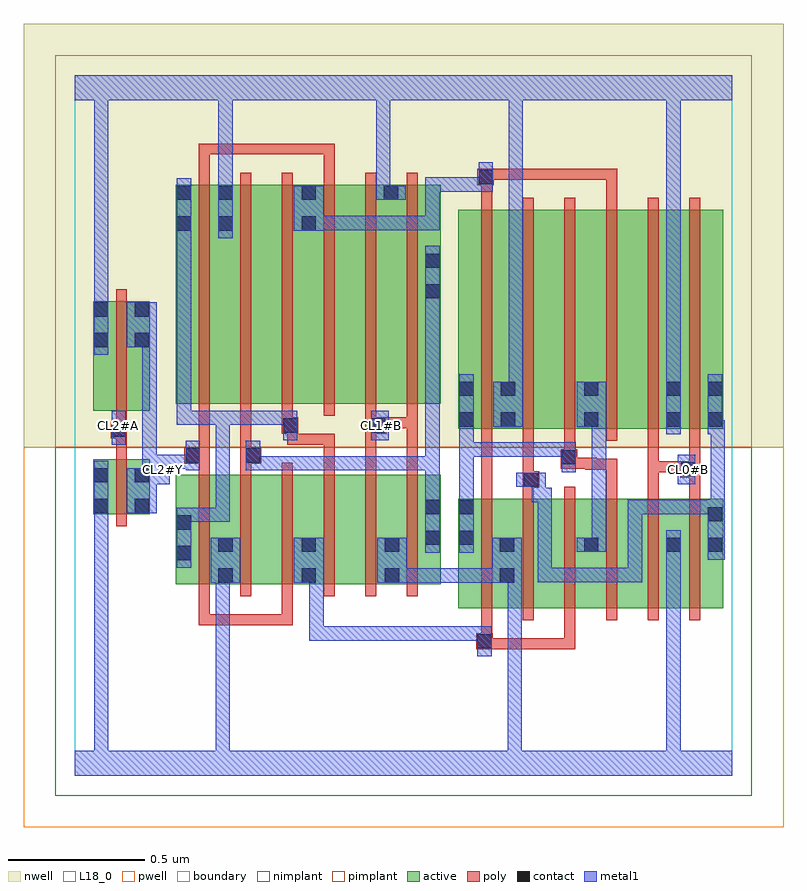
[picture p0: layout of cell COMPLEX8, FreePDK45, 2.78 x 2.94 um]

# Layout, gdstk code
import gdstk
lib = gdstk.Library(unit=1e-6, precision=1e-09)
def R(c, l, rs):  # rectangles x0, y0, x1, y1
    for r in rs: c.add(gdstk.rectangle(r[:2], r[2:], *l))
def A(c, l, x, y, w, h, nx, ny, dx, dy):  # array of equal rectangles
    R(c, l, [(x+i*dx, y+j*dy, x+i*dx+w, y+j*dy+h) for i in range(nx) for j in range(ny)])
active = (1, 0)
pwell = (2, 0)
nwell = (3, 0)
nimplant = (4, 0)
pimplant = (5, 0)
poly = (9, 0)
contact = (10, 0)
metal1 = (11, 0)
L18_0 = (18, 0)
boundary = (235, 0)

complex8 = lib.new_cell('COMPLEX8')
R(complex8, active, [(1.4,0.612,1.46,1.012), (1.4,0.612,1.608,1.012), (1.548,0.612,1.608,1.012), (1.548,0.612,1.732,1.012), (1.732,0.612,1.916,1.012), (1.856,0.612,2.036,1.012), (2.036,0.612,2.216,1.012), (2.156,0.612,2.216,1.012), (2.156,0.612,2.368,1.012), (2.308,0.612,2.368,1.012), (0.368,0.7,0.428,1.1), (0.368,0.7,0.58,1.1), (0.52,0.7,0.7,1.1), (0.52,0.7,0.58,0.874), (0.7,0.7,0.884,1.1), (0.824,0.7,0.884,1.1), (0.824,0.7,1.004,1.1), (1.004,0.7,1.188,1.1), (1.128,0.7,1.336,1.1), (1.128,0.7,1.188,0.874), (1.276,0.7,1.336,1.1), (1.856,0.756,1.916,0.874), (0.066,0.956,0.126,1.156), (0.066,0.956,0.274,1.156), (0.214,0.956,0.274,1.156), (1.4,1.268,1.46,2.068), (1.4,1.268,1.612,2.068), (1.552,1.268,1.612,2.068), (1.552,1.268,1.732,2.068), (1.732,1.268,1.916,2.068), (1.856,1.268,1.916,2.068), (1.856,1.268,2.036,2.068), (2.036,1.268,2.216,2.068), (2.156,1.268,2.216,2.068), (2.156,1.268,2.368,2.068), (2.308,1.268,2.368,2.068), (0.066,1.334,0.126,1.734), (0.066,1.334,0.274,1.734), (0.214,1.334,0.274,1.734), (0.368,1.36,0.428,2.16), (0.368,1.36,0.58,2.16), (0.52,1.36,0.7,2.16), (0.7,1.36,0.884,2.16), (0.824,1.36,0.884,2.16), (0.824,1.36,1.004,2.16), (1.004,1.36,1.184,2.16), (1.124,1.36,1.336,2.16), (1.276,1.36,1.336,2.044), (1.124,1.47,1.184,2.16), (0.52,1.65,0.58,2.16)])
R(complex8, pwell, [(-0.188,-0.188,2.588,1.2)])
R(complex8, nwell, [(-0.188,1.2,2.588,2.748)])
R(complex8, nimplant, [(-0.072,-0.072,2.472,1.2)])
R(complex8, pimplant, [(-0.072,1.2,2.472,2.632)])
A(complex8, poly, 1.484, 0.568, 0.04, 0.488, 6, 1, 0.152, 0)
A(complex8, poly, 0.452, 0.656, 0.04, 0.488, 6, 1, 0.152, 0)
A(complex8, poly, 1.484, 1.224, 0.04, 0.888, 6, 1, 0.152, 0)
A(complex8, poly, 0.452, 1.316, 0.04, 0.888, 6, 1, 0.152, 0)
R(complex8, poly, [(1.466,0.462,1.526,0.522), (1.486,0.462,1.526,0.502), (1.486,0.462,1.526,0.502), (1.486,0.462,1.708,0.502), (1.668,0.462,1.708,0.502), (1.668,0.462,1.708,0.502), (1.668,0.462,1.708,0.502), (1.668,0.462,1.828,0.502), (1.788,0.462,1.828,0.502), (1.788,0.462,1.828,0.608), (1.484,0.482,1.524,0.608), (0.452,0.55,0.492,0.59), (0.452,0.55,0.492,0.59), (0.452,0.55,0.492,0.59), (0.452,0.55,0.492,0.696), (0.452,0.55,0.66,0.59), (0.62,0.55,0.66,0.59), (0.62,0.55,0.66,0.59), (0.62,0.55,0.66,0.59), (0.62,0.55,0.796,0.59), (0.756,0.55,0.796,0.59), (0.756,0.55,0.796,0.696), (0.15,0.912,0.19,1.2), (1.484,1.016,1.524,1.092), (1.636,1.016,1.676,1.092), (1.94,1.016,1.98,1.158), (2.092,1.016,2.132,1.15), (2.244,1.016,2.284,1.13), (1.484,1.052,1.524,1.092), (1.484,1.052,1.524,1.092), (1.484,1.052,1.524,1.092), (1.484,1.052,1.524,1.264), (1.636,1.052,1.696,1.112), (1.636,1.072,1.676,1.112), (1.636,1.072,1.676,1.112), (1.636,1.072,1.676,1.264), (2.21,1.09,2.284,1.15), (0.452,1.104,0.492,1.18), (0.604,1.104,0.644,1.18), (0.908,1.104,0.948,1.25), (1.06,1.104,1.1,1.29), (1.212,1.104,1.252,1.31), (2.092,1.11,2.132,1.264), (2.092,1.11,2.132,1.15), (2.092,1.11,2.132,1.15), (2.092,1.11,2.132,1.15), (2.092,1.11,2.132,1.15), (2.092,1.11,2.132,1.15), (2.092,1.11,2.284,1.15), (2.244,1.11,2.284,1.264), (2.244,1.11,2.284,1.15), (2.244,1.11,2.284,1.15), (1.864,1.118,1.98,1.158), (1.864,1.118,1.904,1.162), (1.94,1.118,1.98,1.158), (1.94,1.118,1.98,1.158), (1.94,1.118,1.98,1.158), (1.774,1.122,1.834,1.194), (1.794,1.122,1.904,1.162), (0.4,1.14,0.492,1.2), (0.604,1.14,0.68,1.2), (1.788,1.154,1.828,1.264), (0.15,1.16,0.19,1.274), (0.452,1.16,0.492,1.2), (0.452,1.16,0.492,1.2), (0.452,1.16,0.492,1.356), (0.604,1.16,0.644,1.2), (0.604,1.16,0.644,1.2), (0.604,1.16,0.644,1.356), (0.776,1.21,0.816,1.25), (0.776,1.21,0.948,1.25), (0.776,1.21,0.816,1.29), (0.908,1.21,0.948,1.25), (0.13,1.234,0.19,1.294), (0.756,1.25,0.816,1.31), (0.776,1.25,0.816,1.29), (0.776,1.25,0.816,1.29), (1.06,1.25,1.1,1.29), (1.06,1.25,1.1,1.29), (1.06,1.25,1.138,1.31), (0.15,1.254,0.19,1.294), (0.15,1.254,0.19,1.294), (0.15,1.254,0.19,1.33), (0.756,1.27,0.796,1.356), (1.06,1.27,1.1,1.356), (1.098,1.27,1.138,1.31), (1.098,1.27,1.138,1.31), (1.098,1.27,1.252,1.31), (1.212,1.27,1.252,1.31), (1.212,1.27,1.252,1.31), (1.212,1.27,1.252,1.31), (1.212,1.27,1.252,1.356), (0.15,1.29,0.19,1.778), (1.484,2.072,1.524,2.198), (1.94,2.072,1.98,2.218), (1.47,2.158,1.53,2.218), (0.452,2.164,0.492,2.31), (0.908,2.164,0.948,2.31), (1.49,2.178,1.53,2.218), (1.49,2.178,1.53,2.218), (1.49,2.178,1.636,2.218), (1.596,2.178,1.636,2.218), (1.596,2.178,1.636,2.218), (1.596,2.178,1.636,2.218), (1.596,2.178,1.874,2.218), (1.834,2.178,1.874,2.218), (1.834,2.178,1.874,2.218), (1.834,2.178,1.874,2.218), (1.834,2.178,1.98,2.218), (1.94,2.178,1.98,2.218), (0.452,2.27,0.492,2.31), (0.452,2.27,0.492,2.31), (0.452,2.27,0.492,2.31), (0.452,2.27,0.66,2.31), (0.62,2.27,0.66,2.31), (0.62,2.27,0.66,2.31), (0.62,2.27,0.66,2.31), (0.62,2.27,0.766,2.31), (0.726,2.27,0.766,2.31), (0.726,2.27,0.948,2.31), (0.908,2.27,0.948,2.31), (0.908,2.27,0.948,2.31), (0.908,2.27,0.948,2.31)])
A(complex8, contact, 0.524, 0.706, 0.052, 0.052, 3, 2, 0.304, 0.112)
R(complex8, contact, [(1.47,0.466,1.522,0.518), (1.552,0.706,1.604,0.758), (0.372,0.788,0.424,0.84), (1.552,0.818,1.604,0.87), (1.86,0.818,1.912,0.87), (2.16,0.818,2.212,0.87), (2.312,0.818,2.364,0.87), (1.28,0.844,1.332,0.896), (1.404,0.844,1.456,0.896), (0.372,0.9,0.424,0.952), (2.312,0.93,2.364,0.982), (1.28,0.956,1.332,1.008), (1.404,0.956,1.456,1.008), (0.07,0.96,0.122,1.012), (0.218,0.96,0.27,1.012), (1.64,1.056,1.692,1.108), (0.07,1.072,0.122,1.124), (0.218,1.072,0.27,1.124), (2.214,1.094,2.266,1.146), (1.778,1.138,1.83,1.19), (0.404,1.144,0.456,1.196), (0.624,1.144,0.676,1.196), (0.134,1.238,0.186,1.29), (0.76,1.254,0.812,1.306), (1.082,1.254,1.134,1.306), (1.404,1.276,1.456,1.328), (1.556,1.276,1.608,1.328), (1.86,1.276,1.912,1.328), (2.16,1.276,2.212,1.328), (2.312,1.276,2.364,1.328), (1.404,1.388,1.456,1.44), (1.556,1.388,1.608,1.44), (1.86,1.388,1.912,1.44), (2.16,1.388,2.212,1.44), (2.312,1.388,2.364,1.44), (0.07,1.566,0.122,1.618), (0.218,1.566,0.27,1.618), (0.07,1.678,0.122,1.73), (0.218,1.678,0.27,1.73), (1.28,1.744,1.332,1.796), (1.28,1.856,1.332,1.908), (0.372,1.992,0.424,2.044), (0.524,1.992,0.576,2.044), (0.828,1.992,0.88,2.044), (0.372,2.104,0.424,2.156), (0.524,2.104,0.576,2.156), (0.828,2.104,0.88,2.156), (1.128,2.104,1.18,2.156), (1.474,2.162,1.526,2.214)])
A(complex8, metal1, 0.496, 0.706, 0.108, 0.164, 3, 1, 0.304, 0)
A(complex8, metal1, 1.69, 0.708, 0.162, 0.052, 3, 1, 0.11, 0)
A(complex8, metal1, 1.8, 0.708, 0.052, 0.052, 3, 1, 0.11, 0)
R(complex8, metal1, [(0,0,2.4,0.092), (0.07,0.04,0.122,0.092), (0.07,0.04,0.122,0.092), (0.07,0.04,0.122,0.092), (0.07,0.04,0.122,0.092), (0.07,0.04,0.122,0.092), (0.07,0.04,0.122,0.092), (0.07,0.04,0.122,0.092), (0.07,0.04,0.122,0.092), (0.07,0.04,0.122,0.092), (0.07,0.04,0.122,0.092), (0.07,0.04,0.122,0.092), (0.07,0.04,0.122,0.092), (0.07,0.04,0.122,0.092), (0.07,0.04,0.122,0.092), (0.07,0.04,0.122,0.092), (0.07,0.04,0.122,0.092), (0.07,0.04,0.122,0.984), (0.514,0.04,0.566,0.092), (0.514,0.04,0.566,0.092), (0.514,0.04,0.566,0.092), (0.514,0.04,0.566,0.092), (0.514,0.04,0.566,0.092), (0.514,0.04,0.566,0.092), (0.514,0.04,0.566,0.092), (0.514,0.04,0.566,0.092), (0.514,0.04,0.566,0.758), (1.58,0.04,1.632,0.092), (1.58,0.04,1.632,0.092), (1.58,0.04,1.632,0.092), (1.58,0.04,1.632,0.092), (1.58,0.04,1.632,0.092), (1.58,0.04,1.632,0.092), (1.58,0.04,1.632,0.092), (1.58,0.04,1.632,0.092), (1.58,0.04,1.632,0.092), (1.58,0.04,1.632,0.092), (1.58,0.04,1.632,0.758), (2.16,0.04,2.212,0.092), (2.16,0.04,2.212,0.092), (2.16,0.04,2.212,0.092), (2.16,0.04,2.212,0.092), (2.16,0.04,2.212,0.092), (2.16,0.04,2.212,0.092), (2.16,0.04,2.212,0.092), (2.16,0.04,2.212,0.092), (2.16,0.04,2.212,0.092), (2.16,0.04,2.212,0.092), (2.16,0.04,2.212,0.092), (2.16,0.04,2.212,0.092), (2.16,0.04,2.212,0.842), (1.47,0.438,1.522,0.546), (0.856,0.494,0.908,0.546), (0.856,0.494,1.024,0.546), (0.856,0.494,0.908,0.758), (0.972,0.494,1.024,0.546), (0.972,0.494,1.024,0.546), (0.972,0.494,1.024,0.546), (0.972,0.494,1.212,0.546), (1.16,0.494,1.212,0.546), (1.16,0.494,1.212,0.546), (1.16,0.494,1.212,0.546), (1.16,0.494,1.322,0.546), (1.27,0.494,1.322,0.546), (1.27,0.494,1.322,0.546), (1.27,0.494,1.322,0.546), (1.27,0.494,1.442,0.546), (1.39,0.494,1.442,0.546), (1.39,0.494,1.522,0.546), (0.514,0.706,0.566,0.758), (0.514,0.706,0.566,0.758), (0.514,0.706,0.566,0.758), (0.514,0.706,0.566,0.758), (1.16,0.706,1.322,0.758), (1.27,0.706,1.322,0.758), (1.27,0.706,1.322,0.758), (1.27,0.706,1.322,0.758), (1.27,0.706,1.466,0.758), (1.414,0.706,1.466,0.758), (1.414,0.706,1.466,0.758), (1.414,0.706,1.466,0.758), (1.414,0.706,1.576,0.758), (1.524,0.706,1.632,0.87), (1.58,0.706,1.632,0.758), (1.58,0.706,1.632,0.758), (1.69,0.708,1.742,0.76), (1.69,0.708,1.742,1.052), (1.8,0.708,1.852,0.76), (1.8,0.708,1.852,0.76), (2.02,0.708,2.072,1.008), (0.372,0.76,0.424,0.98), (2.16,0.79,2.212,0.898), (2.312,0.79,2.374,1.01), (1.28,0.816,1.332,1.036), (1.404,0.816,1.456,1.036), (1.832,0.818,1.94,0.87), (1.888,0.818,1.94,0.87), (1.888,0.818,1.94,0.87), (1.888,0.818,1.94,0.87), (1.888,0.818,1.94,0.87), (1.888,0.818,1.94,1.328), (0.372,0.928,0.566,0.98), (0.514,0.928,0.566,0.98), (0.514,0.928,0.566,0.98), (0.514,0.928,0.566,0.98), (0.514,0.928,0.566,0.98), (0.514,0.928,0.566,0.98), (0.514,0.928,0.566,1.334), (0.07,0.932,0.122,1.152), (2.02,0.956,2.072,1.008), (2.02,0.956,2.072,1.008), (2.02,0.956,2.072,1.008), (2.02,0.956,2.254,1.008), (2.202,0.956,2.254,1.008), (2.202,0.956,2.364,1.008), (2.312,0.956,2.364,1.008), (2.312,0.956,2.364,1.008), (2.322,0.958,2.374,1.01), (2.322,0.958,2.374,1.01), (2.322,0.958,2.374,1.3), (0.19,0.96,0.298,1.124), (1.28,0.984,1.332,1.168), (1.404,0.984,1.456,1.218), (1.668,1,1.72,1.108), (1.668,1,1.742,1.052), (1.612,1.056,1.72,1.108), (1.668,1.056,1.72,1.108), (1.668,1.056,1.72,1.108), (0.246,1.066,0.298,1.118), (0.246,1.066,0.346,1.174), (2.202,1.066,2.266,1.174), (1.778,1.11,1.83,1.218), (0.404,1.116,0.456,1.224), (0.624,1.116,0.676,1.168), (0.624,1.116,0.676,1.168), (0.624,1.116,0.786,1.168), (0.624,1.116,0.676,1.224), (0.734,1.116,0.786,1.168), (0.734,1.116,0.786,1.168), (0.734,1.116,0.786,1.168), (0.734,1.116,1.024,1.168), (0.972,1.116,1.024,1.168), (0.972,1.116,1.024,1.168), (0.972,1.116,1.024,1.168), (0.972,1.116,1.212,1.168), (1.16,1.116,1.212,1.168), (1.16,1.116,1.212,1.168), (1.16,1.116,1.212,1.168), (1.16,1.116,1.332,1.168), (1.28,1.116,1.332,1.168), (1.28,1.116,1.332,1.168), (1.28,1.116,1.332,1.168), (1.28,1.116,1.332,1.168), (1.28,1.116,1.332,1.168), (1.28,1.116,1.332,1.768), (0.246,1.122,0.298,1.618), (0.294,1.122,0.346,1.174), (0.294,1.122,0.346,1.174), (0.294,1.122,0.456,1.174), (1.404,1.166,1.456,1.218), (1.404,1.166,1.456,1.218), (1.404,1.166,1.456,1.218), (1.404,1.166,1.456,1.218), (1.404,1.166,1.456,1.218), (1.404,1.166,1.61,1.218), (1.404,1.166,1.456,1.3), (1.558,1.166,1.61,1.218), (1.558,1.166,1.72,1.218), (1.668,1.166,1.72,1.218), (1.668,1.166,1.72,1.218), (1.668,1.166,1.72,1.218), (1.668,1.166,1.83,1.218), (0.134,1.21,0.186,1.334), (0.76,1.226,0.812,1.334), (1.082,1.226,1.146,1.334), (1.404,1.248,1.456,1.468), (2.16,1.248,2.212,1.468), (2.312,1.248,2.364,1.3), (2.312,1.248,2.364,1.468), (2.312,1.248,2.374,1.3), (1.528,1.276,1.636,1.44), (1.832,1.276,1.94,1.44), (0.372,1.282,0.424,1.334), (0.372,1.282,0.566,1.334), (0.372,1.282,0.424,2.016), (0.514,1.282,0.566,1.334), (0.514,1.282,0.566,1.334), (0.514,1.282,0.566,1.334), (0.514,1.282,0.676,1.334), (0.624,1.282,0.676,1.334), (0.624,1.282,0.676,1.334), (0.624,1.282,0.676,1.334), (0.624,1.282,0.812,1.334), (1.584,1.388,1.636,1.44), (1.584,1.388,1.636,1.44), (1.584,1.388,1.636,1.44), (1.584,1.388,1.636,1.44), (1.584,1.388,1.636,1.44), (1.584,1.388,1.636,1.44), (1.584,1.388,1.636,2.52), (2.16,1.416,2.212,1.468), (2.16,1.416,2.212,1.468), (2.16,1.416,2.212,1.468), (2.16,1.416,2.212,1.468), (2.16,1.416,2.212,1.468), (2.16,1.416,2.212,1.468), (2.16,1.416,2.212,1.468), (2.16,1.416,2.212,1.468), (2.16,1.416,2.212,2.52), (0.07,1.538,0.122,1.758), (0.19,1.566,0.298,1.73), (0.246,1.566,0.298,1.618), (0.246,1.566,0.298,1.618), (0.07,1.706,0.122,2.52), (1.28,1.716,1.332,1.936), (0.372,1.964,0.424,2.184), (0.524,1.964,0.576,2.184), (0.8,1.992,0.908,2.156), (0.856,1.994,1.024,2.046), (0.972,1.994,1.024,2.046), (0.972,1.994,1.024,2.046), (0.972,1.994,1.024,2.046), (0.972,1.994,1.212,2.046), (1.16,1.994,1.212,2.046), (1.16,1.994,1.212,2.046), (1.16,1.994,1.212,2.046), (1.16,1.994,1.332,2.046), (1.28,1.994,1.332,2.046), (1.28,1.994,1.332,2.046), (1.28,1.994,1.332,2.046), (1.28,1.994,1.332,2.186), (1.1,2.104,1.152,2.156), (1.1,2.104,1.152,2.156), (1.1,2.104,1.152,2.156), (1.1,2.104,1.152,2.156), (1.1,2.104,1.152,2.156), (1.1,2.104,1.152,2.156), (1.1,2.104,1.152,2.156), (1.1,2.104,1.152,2.156), (1.1,2.104,1.208,2.156), (1.1,2.104,1.152,2.52), (0.524,2.132,0.576,2.184), (0.524,2.132,0.576,2.184), (0.524,2.132,0.576,2.52), (1.28,2.134,1.332,2.186), (1.28,2.134,1.332,2.186), (1.28,2.134,1.332,2.186), (1.28,2.134,1.442,2.186), (1.39,2.134,1.442,2.186), (1.39,2.134,1.526,2.186), (1.474,2.134,1.526,2.242), (0,2.468,2.4,2.56), (0.07,2.468,0.122,2.52), (0.07,2.468,0.122,2.52), (0.07,2.468,0.122,2.52), (0.07,2.468,0.122,2.52), (0.07,2.468,0.122,2.52), (0.07,2.468,0.122,2.52), (0.07,2.468,0.122,2.52), (0.07,2.468,0.122,2.52), (0.07,2.468,0.122,2.52), (0.07,2.468,0.122,2.52), (0.07,2.468,0.122,2.52), (0.07,2.468,0.122,2.52), (0.07,2.468,0.122,2.52), (0.07,2.468,0.122,2.52), (0.07,2.468,0.122,2.52), (0.07,2.468,0.122,2.52), (0.524,2.468,0.576,2.52), (0.524,2.468,0.576,2.52), (0.524,2.468,0.576,2.52), (0.524,2.468,0.576,2.52), (0.524,2.468,0.576,2.52), (0.524,2.468,0.576,2.52), (1.584,2.468,1.636,2.52), (1.584,2.468,1.636,2.52)])
R(complex8, L18_0, [(0,0,2.4,0.092), (0.07,0.04,0.122,0.092), (0.07,0.04,0.122,0.092), (0.07,0.04,0.122,0.092), (0.07,0.04,0.122,0.092), (0.07,0.04,0.122,0.092), (0.07,0.04,0.122,0.092), (0.07,0.04,0.122,0.092), (0.07,0.04,0.122,0.092), (0.07,0.04,0.122,0.092), (0.07,0.04,0.122,0.092), (0.07,0.04,0.122,0.092), (0.07,0.04,0.122,0.092), (0.07,0.04,0.122,0.092), (0.07,0.04,0.122,0.092), (0.07,0.04,0.122,0.092), (0.07,0.04,0.122,0.092), (0.07,0.04,0.122,0.984), (0.514,0.04,0.566,0.092), (0.514,0.04,0.566,0.092), (0.514,0.04,0.566,0.092), (0.514,0.04,0.566,0.092), (0.514,0.04,0.566,0.092), (0.514,0.04,0.566,0.092), (0.514,0.04,0.566,0.092), (0.514,0.04,0.566,0.092), (0.514,0.04,0.566,0.758), (1.58,0.04,1.632,0.092), (1.58,0.04,1.632,0.092), (1.58,0.04,1.632,0.092), (1.58,0.04,1.632,0.092), (1.58,0.04,1.632,0.092), (1.58,0.04,1.632,0.092), (1.58,0.04,1.632,0.092), (1.58,0.04,1.632,0.092), (1.58,0.04,1.632,0.092), (1.58,0.04,1.632,0.092), (1.58,0.04,1.632,0.758), (2.16,0.04,2.212,0.092), (2.16,0.04,2.212,0.092), (2.16,0.04,2.212,0.092), (2.16,0.04,2.212,0.092), (2.16,0.04,2.212,0.092), (2.16,0.04,2.212,0.092), (2.16,0.04,2.212,0.092), (2.16,0.04,2.212,0.092), (2.16,0.04,2.212,0.092), (2.16,0.04,2.212,0.092), (2.16,0.04,2.212,0.092), (2.16,0.04,2.212,0.092), (2.16,0.04,2.212,0.842), (0.496,0.706,0.604,0.87), (0.514,0.706,0.566,0.758), (0.514,0.706,0.566,0.758), (0.514,0.706,0.566,0.758), (0.514,0.706,0.566,0.758), (1.104,0.706,1.212,0.87), (1.16,0.706,1.322,0.758), (1.27,0.706,1.322,0.758), (1.27,0.706,1.322,0.758), (1.27,0.706,1.322,0.758), (1.27,0.706,1.466,0.758), (1.414,0.706,1.466,0.758), (1.414,0.706,1.466,0.758), (1.414,0.706,1.466,0.758), (1.414,0.706,1.576,0.758), (1.524,0.706,1.632,0.87), (1.58,0.706,1.632,0.758), (1.58,0.706,1.632,0.758), (2.16,0.79,2.212,0.898), (0.07,0.932,0.122,1.152), (0.19,0.96,0.298,1.124), (0.246,1.066,0.298,1.118), (0.246,1.066,0.346,1.174), (2.202,1.066,2.266,1.174), (0.294,1.094,0.346,1.146), (2.214,1.094,2.266,1.146), (0.404,1.116,0.456,1.224), (0.246,1.122,0.298,1.618), (0.294,1.122,0.346,1.174), (0.294,1.122,0.346,1.174), (0.294,1.122,0.456,1.174), (0.134,1.21,0.186,1.334), (1.082,1.226,1.146,1.334), (2.16,1.248,2.212,1.468), (0.134,1.254,0.186,1.306), (1.094,1.254,1.146,1.306), (1.528,1.276,1.636,1.44), (1.584,1.388,1.636,1.44), (1.584,1.388,1.636,1.44), (1.584,1.388,1.636,1.44), (1.584,1.388,1.636,1.44), (1.584,1.388,1.636,1.44), (1.584,1.388,1.636,1.44), (1.584,1.388,1.636,2.52), (2.16,1.416,2.212,1.468), (2.16,1.416,2.212,1.468), (2.16,1.416,2.212,1.468), (2.16,1.416,2.212,1.468), (2.16,1.416,2.212,1.468), (2.16,1.416,2.212,1.468), (2.16,1.416,2.212,1.468), (2.16,1.416,2.212,1.468), (2.16,1.416,2.212,2.52), (0.07,1.538,0.122,1.758), (0.19,1.566,0.298,1.73), (0.246,1.566,0.298,1.618), (0.246,1.566,0.298,1.618), (0.07,1.706,0.122,2.52), (0.524,1.964,0.576,2.184), (1.1,2.104,1.152,2.156), (1.1,2.104,1.152,2.156), (1.1,2.104,1.152,2.156), (1.1,2.104,1.152,2.156), (1.1,2.104,1.152,2.156), (1.1,2.104,1.152,2.156), (1.1,2.104,1.152,2.156), (1.1,2.104,1.152,2.156), (1.1,2.104,1.208,2.156), (1.1,2.104,1.152,2.52), (0.524,2.132,0.576,2.184), (0.524,2.132,0.576,2.184), (0.524,2.132,0.576,2.52), (0,2.468,2.4,2.56), (0.07,2.468,0.122,2.52), (0.07,2.468,0.122,2.52), (0.07,2.468,0.122,2.52), (0.07,2.468,0.122,2.52), (0.07,2.468,0.122,2.52), (0.07,2.468,0.122,2.52), (0.07,2.468,0.122,2.52), (0.07,2.468,0.122,2.52), (0.07,2.468,0.122,2.52), (0.07,2.468,0.122,2.52), (0.07,2.468,0.122,2.52), (0.07,2.468,0.122,2.52), (0.07,2.468,0.122,2.52), (0.07,2.468,0.122,2.52), (0.07,2.468,0.122,2.52), (0.07,2.468,0.122,2.52), (0.524,2.468,0.576,2.52), (0.524,2.468,0.576,2.52), (0.524,2.468,0.576,2.52), (0.524,2.468,0.576,2.52), (0.524,2.468,0.576,2.52), (0.524,2.468,0.576,2.52), (1.584,2.468,1.636,2.52), (1.584,2.468,1.636,2.52)])
R(complex8, boundary, [(0,0,2.4,2.56)])
complex8.add(gdstk.Label('CL0#B', (2.24,1.12), layer=11, texttype=0))
complex8.add(gdstk.Label('CL1#B', (1.12,1.28), layer=11, texttype=0))
complex8.add(gdstk.Label('CL2#A', (0.16,1.28), layer=11, texttype=0))
complex8.add(gdstk.Label('CL2#Y', (0.32,1.12), layer=11, texttype=0))

lib.write_gds('COMPLEX8.gds')
